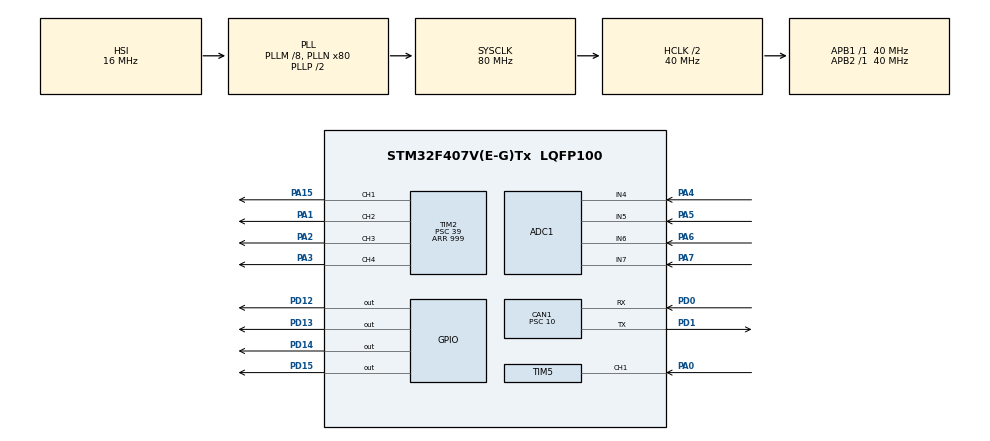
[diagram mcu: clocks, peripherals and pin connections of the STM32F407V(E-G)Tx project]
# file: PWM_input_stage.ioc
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ADC1.Channel-0\#ChannelRegularConversion=ADC_CHANNEL_4
ADC1.Channel-1\#ChannelRegularConversion=ADC_CHANNEL_5
ADC1.Channel-2\#ChannelRegularConversion=ADC_CHANNEL_6
ADC1.Channel-3\#ChannelRegularConversion=ADC_CHANNEL_7
ADC1.DMAContinuousRequests=ENABLE
ADC1.DiscontinuousConvMode=ENABLE
ADC1.EOCSelection=ADC_EOC_SEQ_CONV
ADC1.ExternalTrigConv=ADC_EXTERNALTRIGCONV_T3_TRGO
ADC1.NbrOfConversion=4
ADC1.NbrOfConversionFlag=1
ADC1.NbrOfDiscConversion=4
ADC1.Rank-0\#ChannelRegularConversion=1
ADC1.Rank-1\#ChannelRegularConversion=2
ADC1.Rank-2\#ChannelRegularConversion=3
ADC1.Rank-3\#ChannelRegularConversion=4
ADC1.SamplingTime-0\#ChannelRegularConversion=ADC_SAMPLETIME_15CYCLES
ADC1.SamplingTime-1\#ChannelRegularConversion=ADC_SAMPLETIME_15CYCLES
ADC1.SamplingTime-2\#ChannelRegularConversion=ADC_SAMPLETIME_15CYCLES
ADC1.SamplingTime-3\#ChannelRegularConversion=ADC_SAMPLETIME_15CYCLES
ADC1.ScanConvMode=ENABLE
ADC1.master=1
CAN1.ABOM=ENABLE
CAN1.BS1=CAN_BS1_10TQ
CAN1.BS2=CAN_BS2_5TQ
CAN1.CalculateBaudRate=250000
CAN1.CalculateTimeBit=4000
CAN1.CalculateTimeQuantum=250.0
CAN1.NART=ENABLE
CAN1.Prescaler=10
Dma.ADC1.0.Direction=DMA_PERIPH_TO_MEMORY
Dma.ADC1.0.FIFOMode=DMA_FIFOMODE_DISABLE
Dma.ADC1.0.Instance=DMA2_Stream0
Dma.ADC1.0.MemDataAlignment=DMA_MDATAALIGN_HALFWORD
Dma.ADC1.0.MemInc=DMA_MINC_ENABLE
Dma.ADC1.0.Mode=DMA_CIRCULAR
Dma.ADC1.0.PeriphDataAlignment=DMA_PDATAALIGN_HALFWORD
Dma.ADC1.0.PeriphInc=DMA_PINC_DISABLE
Dma.ADC1.0.Priority=DMA_PRIORITY_LOW
Dma.Request0=ADC1
Mcu.Family=STM32F4
Mcu.Name=STM32F407V(E-G)Tx
Mcu.Package=LQFP100
NVIC.CAN1_RX0_IRQn=true\:0\:0\:false\:false\:true\:true\:true\:true
NVIC.CAN1_TX_IRQn=true\:0\:0\:false\:false\:true\:true\:true\:true
NVIC.DMA2_Stream0_IRQn=true\:0\:0\:false\:false\:true\:false\:true\:true
NVIC.PriorityGroup=NVIC_PRIORITYGROUP_4
NVIC.TIM5_IRQn=true\:0\:0\:false\:false\:true\:true\:true\:true
PA0-WKUP.Signal=S_TIM5_CH1
PA1.Signal=S_TIM2_CH2
PA15.Signal=S_TIM2_CH1_ETR
PA2.Signal=S_TIM2_CH3
PA3.Signal=S_TIM2_CH4
PA4.Signal=ADCx_IN4
PA5.Signal=ADCx_IN5
PA6.Signal=ADCx_IN6
PA7.Signal=ADCx_IN7
PD0.Mode=CAN_Activate
PD0.Signal=CAN1_RX
PD1.Mode=CAN_Activate
PD1.Signal=CAN1_TX
PD12.Signal=GPIO_Output
PD13.Signal=GPIO_Output
PD14.Signal=GPIO_Output
PD15.Signal=GPIO_Output
PH0-OSC_IN.Mode=HSE-External-Oscillator
PH0-OSC_IN.Signal=RCC_OSC_IN
PH1-OSC_OUT.Mode=HSE-External-Oscillator
PH1-OSC_OUT.Signal=RCC_OSC_OUT
ProjectManager.HeapSize=0x200
ProjectManager.StackSize=0x400
ProjectManager.TargetToolchain=STM32CubeIDE
RCC.48MHZClocksFreq_Value=40000000
RCC.AHBCLKDivider=RCC_SYSCLK_DIV2
RCC.AHBFreq_Value=40000000
RCC.APB1Freq_Value=40000000
RCC.APB1TimFreq_Value=40000000
RCC.APB2Freq_Value=40000000
RCC.APB2TimFreq_Value=40000000
RCC.CortexFreq_Value=40000000
RCC.HCLKFreq_Value=40000000
RCC.HSE_VALUE=8000000
RCC.HSI_VALUE=16000000
RCC.LSE_VALUE=32768
RCC.PLLM=8
RCC.PLLN=80
RCC.SYSCLKFreq_VALUE=80000000
RCC.SYSCLKSource=RCC_SYSCLKSOURCE_PLLCLK
RCC.VCOOutputFreq_Value=160000000
SH.ADCx_IN4.0=ADC1_IN4,IN4
SH.ADCx_IN5.0=ADC1_IN5,IN5
SH.ADCx_IN6.0=ADC1_IN6,IN6
SH.ADCx_IN7.0=ADC1_IN7,IN7
SH.S_TIM2_CH1_ETR.0=TIM2_CH1,PWM Generation1 CH1
SH.S_TIM2_CH2.0=TIM2_CH2,PWM Generation2 CH2
SH.S_TIM2_CH3.0=TIM2_CH3,PWM Generation3 CH3
SH.S_TIM2_CH4.0=TIM2_CH4,PWM Generation4 CH4
SH.S_TIM5_CH1.0=TIM5_CH1,Input_Capture1_from_TI1
TIM2.Channel-PWM\ Generation1\ CH1=TIM_CHANNEL_1
TIM2.Channel-PWM\ Generation2\ CH2=TIM_CHANNEL_2
TIM2.Channel-PWM\ Generation3\ CH3=TIM_CHANNEL_3
TIM2.Channel-PWM\ Generation4\ CH4=TIM_CHANNEL_4
TIM2.Period=999
TIM2.Prescaler=39
TIM2.TIM_MasterOutputTrigger=TIM_TRGO_UPDATE
TIM3.Period=99
TIM3.Prescaler=39999
TIM3.TIM_MasterOutputTrigger=TIM_TRGO_UPDATE
TIM5.Channel-Input_Capture1_from_TI1=TIM_CHANNEL_1
TIM5.ICPolarity_CH1=TIM_INPUTCHANNELPOLARITY_BOTHEDGE
TIM5.Prescaler=39
VP_TIM2_VS_ClockSourceINT.Mode=Internal
VP_TIM3_VS_ClockSourceINT.Mode=Internal
VP_TIM5_VS_ClockSourceINT.Mode=Internal
board=custom

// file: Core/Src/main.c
/* USER CODE BEGIN Header */
/**
  ******************************************************************************
  * @file           : main.c
  * @brief          : Main program body
  ******************************************************************************
  * @attention
  *
  * Copyright (c) 2024 STMicroelectronics.
  * All rights reserved.
  *
  * This software is licensed under terms that can be found in the LICENSE file
  * in the root directory of this software component.
  * If no LICENSE file comes with this software, it is provided AS-IS.
  *
  ******************************************************************************
  */
/* USER CODE END Header */
#include "main.h"

/* USER CODE BEGIN PD */
#define GPIO_Input_Number 4U //4 pinsPD12 ,PD13 ,PD14 , PD15 (0,1,2,3)
#define IRQ_Enable (CAN_IT_TX_MAILBOX_EMPTY         \
                    | CAN_IT_RX_FIFO0_MSG_PENDING   \
                    | CAN_IT_RX_FIFO0_FULL          \
                    | CAN_IT_RX_FIFO0_OVERRUN       \
                    | CAN_IT_RX_FIFO1_MSG_PENDING   \
                    | CAN_IT_RX_FIFO1_FULL          \
                    | CAN_IT_RX_FIFO1_OVERRUN)

#define Driver_error 0xFBU
#define Bad_parameter 0xFEU
#define Module_ID_not_defined 0xFAU
#define Routine_ID_not_defined 0xFFU
#define pwm_channel_max 4U
#define duty_cycle_max 0x2710U   //duty cycle =100% equivalent to 10000(HEX 2710)  //precision=0.01%

/* USER CODE END PD */

ADC_HandleTypeDef hadc1;
DMA_HandleTypeDef hdma_adc1;

CAN_HandleTypeDef hcan1;

TIM_HandleTypeDef htim2;
TIM_HandleTypeDef htim3;
TIM_HandleTypeDef htim5;

void SystemClock_Config(void);
static void MX_GPIO_Init(void);
static void MX_DMA_Init(void);
static void MX_ADC1_Init(void);
static void MX_TIM3_Init(void);
static void MX_CAN1_Init(void);
static void MX_TIM2_Init(void);
static void MX_TIM5_Init(void);

/* USER CODE BEGIN 0 */

static CAN_TxHeaderTypeDef TxHeader;
CAN_RxHeaderTypeDef RxHeader;
uint8_t Rx_Data[8];
uint8_t Tx_Data[8] = {0};
uint32_t TxMailbox;
GPIO_TypeDef* GPIOx;
uint16_t led_matrix[GPIO_Input_Number] ={GPIO_PIN_12,  GPIO_PIN_13,  GPIO_PIN_14,  GPIO_PIN_15};
typedef enum
{
	LED_RESET,   //reset=0
    LED_SET      //set=1

} LED_Action;

static uint32_t IC_Val1 = 0, IC_Val2 = 0, IC_Val3 = 0;
static uint8_t CaptureCount = 0;
uint8_t edgeType = 0;

typedef struct {
    uint16_t dutyCycle;
    uint16_t frequency;
} PWM_Measurement;

PWM_Measurement pwm = {0, 0};  // Initialize with default values
uint32_t HighTime = 0, Period = 0,LowTime=0;

uint8_t Control_LED(uint8_t led_num, uint8_t action)
{
	uint8_t ReturnStatus = 0U;   //default value //no error

	if ( (action > LED_SET )||(led_num >= GPIO_Input_Number ))   //LED_SET =1  //GPIO_Input_Number 0..3
	{
		ReturnStatus = Bad_parameter ;   //Error Message
	}
	else   //ReturnStatus = 0U;
	{
        HAL_GPIO_WritePin(GPIOD, (uint16_t)led_matrix[led_num], (GPIO_PinState)action); // configure  pin number and action :set or reset
	}
	return ReturnStatus;      //last value of ReturnStatus
}

GPIO_PinState Read_LED(uint8_t led_num)
{
    GPIO_PinState bitstatus = GPIO_PIN_RESET;  // Default state is OFF
    // Check if the led_num is within valid range
    if (led_num < GPIO_Input_Number)
    {
        // Read the state of the specified LED
    	bitstatus = HAL_GPIO_ReadPin(GPIOD, led_matrix[led_num]);
    }
    else
    {
    	bitstatus = Bad_parameter ;
    }
    return bitstatus;
}

void Send_CAN_Message(uint8_t *data, uint32_t length)  //variable data length
{
    TxHeader.DLC = length;
    if (HAL_CAN_AddTxMessage(&hcan1, &TxHeader, data, &TxMailbox) != HAL_OK)
    {
        Error_Handler();          // Handle transmission error
    }
}

uint8_t Set_PWM_output(uint32_t channel, uint16_t duty_cycle, uint16_t frequency)
{
    TIM_OC_InitTypeDef sConfigOC = {0};
    uint8_t ReturnStatus = 0U;

    if ((channel > pwm_channel_max ) || (duty_cycle >duty_cycle_max ) || (frequency == 0U))
    {
        return Bad_parameter ;
    }
    else
    {
        uint32_t PCLK1 = HAL_RCC_GetPCLK1Freq();
        htim2.Init.Prescaler = (PCLK1 / (1000U * 1000U)) - 1U;  //PCLK1 clock in MHZ  //prescaler=39
        htim2.Init.Period = (1000000/frequency) - 1U;     //ARR=999
        if (HAL_TIM_PWM_Init(&htim2) != HAL_OK)
        {
            return Driver_error;
        }
        sConfigOC.OCMode = TIM_OCMODE_PWM1;
        sConfigOC.Pulse = ((duty_cycle*htim2.Init.Period)/100)/100; //duty cycle in %
        sConfigOC.OCPolarity = TIM_OCPOLARITY_HIGH;
        sConfigOC.OCFastMode = TIM_OCFAST_DISABLE;
          uint32_t tim_channel;
          switch (channel)
           {
               case 1: tim_channel = TIM_CHANNEL_1; break;
               case 2: tim_channel = TIM_CHANNEL_2; break;
               case 3: tim_channel = TIM_CHANNEL_3; break;
               case 4: tim_channel = TIM_CHANNEL_4; break;
               default: return Bad_parameter; // Channel invalid
           }
           if (HAL_TIM_PWM_ConfigChannel(&htim2, &sConfigOC, tim_channel) != HAL_OK)
           {
               return Driver_error;
           }

           if (HAL_TIM_PWM_Start(&htim2, tim_channel) != HAL_OK)
           {
               return Driver_error;
           }
           return ReturnStatus; // success
    }
}

//check set_PWM_output values
uint8_t Get_PWM_output(uint32_t channel, uint16_t *duty_cycle, uint16_t *frequency)  //use pointer to return 2 values : duty cycle and frequency
{
    if ((channel >  pwm_channel_max) || (duty_cycle == NULL) || (frequency == NULL))
    {
        return Bad_parameter;
    }
    uint32_t PCLK1 = HAL_RCC_GetPCLK1Freq();
    uint32_t prescaler = htim2.Init.Prescaler + 1U;
    uint32_t period = htim2.Init.Period + 1U;
    uint32_t compare_value = 0U;                    // Compare register default  value CCR
    switch (channel)
    {
        case 1: compare_value = htim2.Instance->CCR1; break;
        case 2: compare_value = htim2.Instance->CCR2; break;
        case 3: compare_value = htim2.Instance->CCR3; break;
        case 4: compare_value = htim2.Instance->CCR4; break;
        default: return Bad_parameter;       // Invalid channel
    }
    if (period != 0)   //check the PWM frequency
    {
        *frequency = (PCLK1 / prescaler) / period;
        *duty_cycle = ((compare_value * 100U) / period)*100;
    }
    else
    {
        *frequency = 0U;
        *duty_cycle = 0U;
    }
    return 0U; // Success
}

PWM_Measurement Handle_TIM_IC_Capture(uint32_t channel)
{
    static uint8_t edgeType = 0;  // Type de front (0: indéfini, 1: montant, 2: descendant)
    static uint32_t previousIC_Val1 = 0;  // Valeur précédente pour détecter les erreurs
    static uint8_t lastState = 0;  // Stocke le dernier état du front (0: descendant, 1: montant)
    uint8_t currentState = 0;  // Stocke l'état actuel du front

    if (channel == TIM_CHANNEL_1)
    {
        switch (CaptureCount)
        {
            case 0: // Première capture (front montant ou descendant)
                IC_Val1 = HAL_TIM_ReadCapturedValue(&htim5, TIM_CHANNEL_1);

                // Si IC_Val1 est identique à la valeur précédente, il peut s'agir d'une erreur
                if (IC_Val1 == previousIC_Val1)
                {
                    // Ignore cette capture, attends le prochain front
                    break;
                }

                // Détermine le type de front actuel
                GPIO_PinState pinState = HAL_GPIO_ReadPin(GPIOA, GPIO_PIN_0);
                currentState = (pinState == GPIO_PIN_SET) ? 1 : 0;  // 1: front montant, 0: front descendant

                // S'assure que le premier front est montant
                if (currentState == 1)
                {
                    edgeType = 1;  // Premier front est montant, continuer normalement
                    previousIC_Val1 = IC_Val1;  // Met à jour la valeur précédente
                    CaptureCount = 1;
                    lastState = currentState;  // Stocke le dernier état
                }
                else
                {
                    // Si le premier front n'est pas montant, attends le bon front
                    break;
                }
                break;

            case 1: // Deuxième capture (front descendant)
                IC_Val2 = HAL_TIM_ReadCapturedValue(&htim5, TIM_CHANNEL_1);

                // Met à jour l'état actuel en fonction du front détecté
                pinState = HAL_GPIO_ReadPin(GPIOA, GPIO_PIN_0);
                currentState = (pinState == GPIO_PIN_SET) ? 1 : 0;  // 1: front montant, 0: front descendant

                // Ne continue que si la transition de front est correcte (descendant après montant)
                if (lastState == 1 && currentState == 0)
                {
                    edgeType = 2;  // Front descendant valide après montant
                    CaptureCount = 2;
                }
                else
                {
                    // Ignore les transitions incorrectes
                    break;
                }
                break;

            case 2: // Troisième capture (front montant à nouveau)
                IC_Val3 = HAL_TIM_ReadCapturedValue(&htim5, TIM_CHANNEL_1);

                // Vérifie si le edgeType correspond à la séquence correcte de transitions
              while(edgeType == 2) // Si le premier front était montant
                {
                	;
                }

                    // Calcul du HighTime (temps haut)
                    if (IC_Val2 >= IC_Val1)
                    {
                        HighTime = IC_Val2 - IC_Val1;
                    }
                    else // Gérer le débordement
                    {
                        HighTime = (0xFFFF - IC_Val1 + IC_Val2 + 1);
                    }

                    // Calcul de la période (Period)
                    if (IC_Val3 >= IC_Val1)
                    {
                        Period = IC_Val3 - IC_Val1;
                    }
                    else // Gérer le débordement
                    {
                        Period = (0xFFFF - IC_Val1 + IC_Val3 + 1);
                    }

                    // Calcul de la fréquence et du duty cycle
                    uint32_t timerClock = HAL_RCC_GetPCLK1Freq() / (htim5.Init.Prescaler + 1);
                    if (Period != 0)
                    {
                        pwm.frequency = (uint16_t)(timerClock / Period);
                        pwm.dutyCycle = (uint16_t)(((float)HighTime / (float)Period) * 100.0f);

                        if (pwm.dutyCycle > 100)
                        {
                            pwm.dutyCycle = 100;
                        }
                    }
                    else
                    {
                        pwm.frequency = Bad_parameter;
                        pwm.dutyCycle = Bad_parameter;
                    }

                // Prépare pour le prochain cycle
                IC_Val1 = IC_Val3;  // Commence le prochain cycle avec IC_Val3
                CaptureCount = 1;   // Réinitialise CaptureCount pour continuer depuis le deuxième front
                lastState = currentState;  // Met à jour le dernier état pour la prochaine capture
                break;
        }
    }
    else
    {
        // Gère le cas où le canal n'est pas TIM_CHANNEL_1
        pwm.frequency = Bad_parameter;
        pwm.dutyCycle = Bad_parameter;
    }

    return pwm;
}

/*PWM_Measurement Handle_TIM_IC_Capture(uint32_t channel)
{
    static uint8_t edgeType = 0;  // Edge type (0: undefined, 1: rising, 2: falling)
    static uint32_t previousIC_Val1 = 0;  // Store previous value to detect errors
    static uint8_t lastState = 0;  // Store the last edge state (0: falling, 1: rising)
    uint8_t currentState = 0;  // Store the current edge state

    if (channel == TIM_CHANNEL_1)
    {
        switch (CaptureCount)
        {
            case 0: // First capture (rising or falling edge)
                IC_Val1 = HAL_TIM_ReadCapturedValue(&htim5, TIM_CHANNEL_1);

                // If IC_Val1 is identical to the previous value, it might be an error
                if (IC_Val1 == previousIC_Val1)
                {
                    // Ignore this capture, wait for the next edge
                    break;
                }

                // Determine the current edge type
                GPIO_PinState pinState = HAL_GPIO_ReadPin(GPIOA, GPIO_PIN_0);
                if (pinState == GPIO_PIN_SET)
                {
                    currentState = 1;  // Rising edge
                }
                else if (pinState == GPIO_PIN_RESET)
                {
                    currentState = 0;  // Falling edge
                }

                // Ensure the first edge is rising
                if (currentState == 1)
                {
                    edgeType = 1;  // First edge is rising, proceed with normal flow
                    previousIC_Val1 = IC_Val1;  // Update previous value
                    CaptureCount = 1;
                    lastState = currentState;  // Store the last state
                }
                else
                {
                    // If the first edge is not rising, wait for the correct edge
                    break;
                }
                break;

            case 1: // Second capture (falling edge)
                IC_Val2 = HAL_TIM_ReadCapturedValue(&htim5, TIM_CHANNEL_1);

                // Update current state based on the edge detected
                pinState = HAL_GPIO_ReadPin(GPIOA, GPIO_PIN_0);
                currentState = (pinState == GPIO_PIN_SET) ? 1 : 0;

                // Only proceed if the edge transition is correct (falling after rising)
                if (lastState == 1 && currentState == 0)
                {
                    edgeType = 2;  // Valid falling edge after rising
                    CaptureCount = 2;
                }
                else
                {
                    // Ignore incorrect transitions
                    break;
                }
                break;

            case 2: // Third capture (rising edge again)
                IC_Val3 = HAL_TIM_ReadCapturedValue(&htim5, TIM_CHANNEL_1);

                if (edgeType == 1) // If the first edge was rising
                {
                    // Calculate high time (HighTime)
                    if (IC_Val2 >= IC_Val1)
                    {
                        HighTime = IC_Val2 - IC_Val1;
                    }
                    else // Handle overflow
                    {
                        HighTime = (0xFFFF - IC_Val1 + IC_Val2 + 1);
                    }

                    // Calculate period (Period)
                    if (IC_Val3 >= IC_Val1)
                    {
                        Period = IC_Val3 - IC_Val1;
                    }
                    else // Handle overflow
                    {
                        Period = (0xFFFF - IC_Val1 + IC_Val3 + 1);
                    }

                    // Calculate frequency and duty cycle
                    uint32_t timerClock = HAL_RCC_GetPCLK1Freq() / (htim5.Init.Prescaler + 1);
                    if (Period != 0)
                    {
                        pwm.frequency = (uint16_t)(timerClock / Period);
                        pwm.dutyCycle = (uint16_t)(((float)HighTime / (float)Period) * 100.0f);

                        if (pwm.dutyCycle > 100)
                        {
                            pwm.dutyCycle = 100;
                        }
                    }
                    else
                    {
                        pwm.frequency = Bad_parameter;
                        pwm.dutyCycle = Bad_parameter;
                    }
                }

                // Prepare for the next cycle
                IC_Val1 = IC_Val3;  // Start the next cycle with IC_Val3
                CaptureCount = 1;   // Reset CaptureCount to continue from the second edge
                lastState = currentState;  // Update last state for the next capture
                break;
        }
    }
    else
    {
        // Handle the case where the channel is not TIM_CHANNEL_1
        pwm.frequency = Bad_parameter;
        pwm.dutyCycle = Bad_parameter;
    }

    return pwm;
}
*/

/*PWM_Measurement Handle_TIM_IC_Capture(uint32_t channel)
{
    static uint8_t edgeType = 0;  // Edge type (0: undefined, 1: rising, 2: falling)
    static uint32_t previousIC_Val1 = 0;  // Store previous value to detect errors

    if (channel == TIM_CHANNEL_1)
    {
        switch (CaptureCount)
        {
            case 0: // First capture (rising or falling edge)
                IC_Val1 = HAL_TIM_ReadCapturedValue(&htim5, TIM_CHANNEL_1);

                // If IC_Val1 is identical to the previous value, it might be an error
                if (IC_Val1 == previousIC_Val1)
                {
                    // Ignore this capture, wait for the next edge
                    break;
                }

                // Determine edge type
                GPIO_PinState pinState = HAL_GPIO_ReadPin(GPIOA, GPIO_PIN_0);
                if (pinState == GPIO_PIN_SET)
                {
                    edgeType = 1;  // Rising edge
                    HAL_GPIO_WritePin(GPIOD, GPIO_PIN_12, GPIO_PIN_SET);
                    //HAL_GPIO_WritePin(GPIOD, GPIO_PIN_13, GPIO_PIN_RESET);  // LED for Falling edge
                }
                else if (pinState == GPIO_PIN_RESET)
                {
                    edgeType = 2;  // Falling edge
                    HAL_GPIO_WritePin(GPIOD, GPIO_PIN_13, GPIO_PIN_SET);
                    //HAL_GPIO_WritePin(GPIOD, GPIO_PIN_13, GPIO_PIN_RESET);  // LED for Falling edge
                }

                previousIC_Val1 = IC_Val1;  // Update previous value
                CaptureCount = 1;
                break;

            case 1: // Second capture (opposite edge)
                IC_Val2 = HAL_TIM_ReadCapturedValue(&htim5, TIM_CHANNEL_1);
                CaptureCount = 2;
                break;

            case 2: // Third capture (same as first edge)
                IC_Val3 = HAL_TIM_ReadCapturedValue(&htim5, TIM_CHANNEL_1);

                if (edgeType == 1) // If the first edge was rising
                {
                    // Calculate high time (HighTime)
                    if (IC_Val2 >= IC_Val1)
                    {
                        HighTime = IC_Val2 - IC_Val1;
                    }
                    else // Handle overflow
                    {
                        HighTime = (0xFFFF - IC_Val1 + IC_Val2 + 1);
                    }

                    // Calculate period (Period)
                    if (IC_Val3 >= IC_Val1)
                    {
                        Period = IC_Val3 - IC_Val1;
                    }
                    else // Handle overflow
                    {
                        Period = (0xFFFF - IC_Val1 + IC_Val3 + 1);
                    }

                    // Calculate frequency and duty cycle
                    uint32_t timerClock = HAL_RCC_GetPCLK1Freq() / (htim5.Init.Prescaler + 1);
                    if (Period != 0)
                    {
                        pwm.frequency = (uint16_t)(timerClock / Period);
                        pwm.dutyCycle = (uint16_t)(((float)HighTime / (float)Period) * 100.0f);

                        if (pwm.dutyCycle > 100)
                        {
                            pwm.dutyCycle = 100;
                        }
                    }
                    else
                    {
                        pwm.frequency = Bad_parameter;
                        pwm.dutyCycle = Bad_parameter;
                    }
                }
                else if (edgeType == 2) // If the first edge was falling
                {
                    // Calculate low time (LowTime)
                    if (IC_Val2 >= IC_Val1)
                    {
                        LowTime = IC_Val2 - IC_Val1;
                    }
                    else // Handle overflow
                    {
                        LowTime = (0xFFFF - IC_Val1 + IC_Val2 + 1);
                    }

                    // Calculate period (Period)
                    if (IC_Val3 >= IC_Val1)
                    {
                        Period = IC_Val3 - IC_Val1;
                    }
                    else // Handle overflow
                    {
                        Period = (0xFFFF - IC_Val1 + IC_Val3 + 1);
                    }

                    // Calculate frequency and duty cycle
                    uint32_t timerClock = HAL_RCC_GetPCLK1Freq() / (htim5.Init.Prescaler + 1);
                    if (Period != 0)
                    {
                        pwm.frequency = (uint16_t)(timerClock / Period);
                        pwm.dutyCycle = 100 - (uint16_t)(((float)LowTime / (float)Period) * 100.0f);

                        if (pwm.dutyCycle > 100)
                        {
                            pwm.dutyCycle = 100;
                        }
                    }
                    else
                    {
                        pwm.frequency = Bad_parameter;
                        pwm.dutyCycle = Bad_parameter;
                    }
                }

                // Prepare for the next cycle
                IC_Val1 = IC_Val3;  // Start the next cycle with IC_Val3
                CaptureCount = 1;   // Reset CaptureCount to continue from the second edge
                break;
        }
    }
    else
    {
        // Handle the case where the channel is not TIM_CHANNEL_1
        pwm.frequency = Bad_parameter;
        pwm.dutyCycle = Bad_parameter;
    }

    return pwm;
}
*/

void CAN_ConfigFilter(uint32_t filterBank, uint32_t id, uint32_t idType)
{
    CAN_FilterTypeDef canFilterConfig;  // Declare a filter configuration structure
    canFilterConfig.FilterBank = filterBank;   // Set the filter bank number to configure
    canFilterConfig.FilterMode = CAN_FILTERMODE_IDMASK;  // Set the filter mode to ID mask
    canFilterConfig.FilterScale = CAN_FILTERSCALE_32BIT;// Set the filter scale to 32 bits (for extended IDs)
    canFilterConfig.FilterFIFOAssignment = CAN_FILTER_FIFO0;  // Assign the filter to FIFO0 (First In First Out)
    canFilterConfig.FilterActivation = ENABLE;   // Activate the filter
    if (idType == CAN_ID_STD)
    {
        // Configure the standard ID filter
        canFilterConfig.FilterIdHigh = id << 5; // Shift the ID left by 5 bits for the high part
        canFilterConfig.FilterIdLow = 0x0000;   // Low part is not used for standard IDs
        // Set the mask for standard IDs (allow any ID matching the higher bits)
        canFilterConfig.FilterMaskIdHigh = 0xFFFF << 5; // Mask high part
        canFilterConfig.FilterMaskIdLow = 0x0000;       // Mask low part
    }
    else if (idType == CAN_ID_EXT)
    {
        // Configure the extended ID filter
        canFilterConfig.FilterIdHigh = (id >> 13) & 0xFFFF; // Get the high part of the extended ID
        canFilterConfig.FilterIdLow = (id << 3) & 0xFFFF;   // Get the low part of the extended ID
        // Set the mask for extended IDs
        canFilterConfig.FilterMaskIdHigh = (0x1FFFFFFF >> 13) & 0xFFFF; // Max mask high part
        canFilterConfig.FilterMaskIdLow = (0x1FFFFFFF << 3) & 0xFFFF;   // Max mask low part
    }
    if (HAL_CAN_ConfigFilter(&hcan1, &canFilterConfig) != HAL_OK)  // Configure the CAN filter with the defined settings
    {
        Error_Handler();
    }
}

/* USER CODE END 0 */

int main(void)
{

  /* MCU Configuration--------------------------------------------------------*/

  /* Reset of all peripherals, Initializes the Flash interface and the Systick. */
  HAL_Init();

  /* Configure the system clock */
  SystemClock_Config();

  /* Initialize all configured peripherals */
  MX_GPIO_Init();
  MX_DMA_Init();
  MX_ADC1_Init();
  MX_TIM3_Init();
  MX_CAN1_Init();
  MX_TIM2_Init();
  MX_TIM5_Init();
  /* USER CODE BEGIN 2 */

  HAL_TIM_IC_Start_IT(&htim5, TIM_CHANNEL_1);
  //simplify the timer configuration and interrupt handling code by using a single channel to capture both edges of the signal

  if (HAL_CAN_ActivateNotification(&hcan1,IRQ_Enable) != HAL_OK)  //activate the notification after successful transmission
  {
      Error_Handler();
  }
  HAL_TIM_Base_Start(&htim2);
  HAL_CAN_Start(&hcan1);

  // Configuration of header of message CAN
  TxHeader.DLC=0x8U; // Length data (8 bytes )
  TxHeader.IDE=CAN_ID_STD; // standard Identifier
  TxHeader.RTR=CAN_RTR_DATA; // Data frame
  TxHeader.StdId=0x400U;// standard Identifier
  TxHeader.TransmitGlobalTime=DISABLE;   //not include a global timestamp
  CAN_ConfigFilter(0, 0x466, CAN_ID_STD);   //accepted ID  =0x466

  /* USER CODE END 2 */

  /* Infinite loop */
  while (1)
  {

    /* USER CODE BEGIN 3 */

  }
  HAL_StatusTypeDef status;
  status = HAL_CAN_AddTxMessage(&hcan1, &TxHeader, Tx_Data, &TxMailbox);
  if (status != HAL_OK)
  {
      Error_Handler();
  }

  /* USER CODE END 3 */
}

void SystemClock_Config(void)
{
  RCC_OscInitTypeDef RCC_OscInitStruct = {0};
  RCC_ClkInitTypeDef RCC_ClkInitStruct = {0};

  /** Configure the main internal regulator output voltage
  */
  __HAL_RCC_PWR_CLK_ENABLE();
  __HAL_PWR_VOLTAGESCALING_CONFIG(PWR_REGULATOR_VOLTAGE_SCALE1);

  /** Initializes the RCC Oscillators according to the specified parameters
  * in the RCC_OscInitTypeDef structure.
  */
  RCC_OscInitStruct.OscillatorType = RCC_OSCILLATORTYPE_HSI;
  RCC_OscInitStruct.HSIState = RCC_HSI_ON;
  RCC_OscInitStruct.HSICalibrationValue = RCC_HSICALIBRATION_DEFAULT;
  RCC_OscInitStruct.PLL.PLLState = RCC_PLL_ON;
  RCC_OscInitStruct.PLL.PLLSource = RCC_PLLSOURCE_HSI;
  RCC_OscInitStruct.PLL.PLLM = 8;
  RCC_OscInitStruct.PLL.PLLN = 80;
  RCC_OscInitStruct.PLL.PLLP = RCC_PLLP_DIV2;
  RCC_OscInitStruct.PLL.PLLQ = 4;
  if (HAL_RCC_OscConfig(&RCC_OscInitStruct) != HAL_OK)
  {
    Error_Handler();
  }

  /** Initializes the CPU, AHB and APB buses clocks
  */
  RCC_ClkInitStruct.ClockType = RCC_CLOCKTYPE_HCLK|RCC_CLOCKTYPE_SYSCLK
                              |RCC_CLOCKTYPE_PCLK1|RCC_CLOCKTYPE_PCLK2;
  RCC_ClkInitStruct.SYSCLKSource = RCC_SYSCLKSOURCE_PLLCLK;
  RCC_ClkInitStruct.AHBCLKDivider = RCC_SYSCLK_DIV2;
  RCC_ClkInitStruct.APB1CLKDivider = RCC_HCLK_DIV1;
  RCC_ClkInitStruct.APB2CLKDivider = RCC_HCLK_DIV1;

  if (HAL_RCC_ClockConfig(&RCC_ClkInitStruct, FLASH_LATENCY_1) != HAL_OK)
  {
    Error_Handler();
  }
}

static void MX_ADC1_Init(void)
{

  ADC_ChannelConfTypeDef sConfig = {0};

  /** Configure the global features of the ADC (Clock, Resolution, Data Alignment and number of conversion)
  */
  hadc1.Instance = ADC1;
  hadc1.Init.ClockPrescaler = ADC_CLOCK_SYNC_PCLK_DIV2;
  hadc1.Init.Resolution = ADC_RESOLUTION_12B;
  hadc1.Init.ScanConvMode = ENABLE;
  hadc1.Init.ContinuousConvMode = DISABLE;
  hadc1.Init.DiscontinuousConvMode = ENABLE;
  hadc1.Init.NbrOfDiscConversion = 4;
  hadc1.Init.ExternalTrigConvEdge = ADC_EXTERNALTRIGCONVEDGE_RISING;
  hadc1.Init.ExternalTrigConv = ADC_EXTERNALTRIGCONV_T3_TRGO;
  hadc1.Init.DataAlign = ADC_DATAALIGN_RIGHT;
  hadc1.Init.NbrOfConversion = 4;
  hadc1.Init.DMAContinuousRequests = ENABLE;
  hadc1.Init.EOCSelection = ADC_EOC_SEQ_CONV;
  if (HAL_ADC_Init(&hadc1) != HAL_OK)
  {
    Error_Handler();
  }

  /** Configure for the selected ADC regular channel its corresponding rank in the sequencer and its sample time.
  */
  sConfig.Channel = ADC_CHANNEL_4;
  sConfig.Rank = 1;
  sConfig.SamplingTime = ADC_SAMPLETIME_15CYCLES;
  if (HAL_ADC_ConfigChannel(&hadc1, &sConfig) != HAL_OK)
  {
    Error_Handler();
  }

  /** Configure for the selected ADC regular channel its corresponding rank in the sequencer and its sample time.
  */
  sConfig.Channel = ADC_CHANNEL_5;
  sConfig.Rank = 2;
  if (HAL_ADC_ConfigChannel(&hadc1, &sConfig) != HAL_OK)
  {
    Error_Handler();
  }

  /** Configure for the selected ADC regular channel its corresponding rank in the sequencer and its sample time.
  */
  sConfig.Channel = ADC_CHANNEL_6;
  sConfig.Rank = 3;
  if (HAL_ADC_ConfigChannel(&hadc1, &sConfig) != HAL_OK)
  {
    Error_Handler();
  }

  /** Configure for the selected ADC regular channel its corresponding rank in the sequencer and its sample time.
  */
  sConfig.Channel = ADC_CHANNEL_7;
  sConfig.Rank = 4;
  if (HAL_ADC_ConfigChannel(&hadc1, &sConfig) != HAL_OK)
  {
    Error_Handler();
  }

}

static void MX_CAN1_Init(void)
{

  hcan1.Instance = CAN1;
  hcan1.Init.Prescaler = 10;
  hcan1.Init.Mode = CAN_MODE_NORMAL;
  hcan1.Init.SyncJumpWidth = CAN_SJW_1TQ;
  hcan1.Init.TimeSeg1 = CAN_BS1_10TQ;
  hcan1.Init.TimeSeg2 = CAN_BS2_5TQ;
  hcan1.Init.TimeTriggeredMode = DISABLE;
  hcan1.Init.AutoBusOff = ENABLE;
  hcan1.Init.AutoWakeUp = DISABLE;
  hcan1.Init.AutoRetransmission = ENABLE;
  hcan1.Init.ReceiveFifoLocked = DISABLE;
  hcan1.Init.TransmitFifoPriority = DISABLE;
  if (HAL_CAN_Init(&hcan1) != HAL_OK)
  {
    Error_Handler();
  }

}

static void MX_TIM2_Init(void)
{

  TIM_ClockConfigTypeDef sClockSourceConfig = {0};
  TIM_MasterConfigTypeDef sMasterConfig = {0};
  TIM_OC_InitTypeDef sConfigOC = {0};

  htim2.Instance = TIM2;
  htim2.Init.Prescaler = 39;
  htim2.Init.CounterMode = TIM_COUNTERMODE_UP;
  htim2.Init.Period = 999;
  htim2.Init.ClockDivision = TIM_CLOCKDIVISION_DIV1;
  htim2.Init.AutoReloadPreload = TIM_AUTORELOAD_PRELOAD_DISABLE;
  if (HAL_TIM_Base_Init(&htim2) != HAL_OK)
  {
    Error_Handler();
  }
  sClockSourceConfig.ClockSource = TIM_CLOCKSOURCE_INTERNAL;
  if (HAL_TIM_ConfigClockSource(&htim2, &sClockSourceConfig) != HAL_OK)
  {
    Error_Handler();
  }
  if (HAL_TIM_PWM_Init(&htim2) != HAL_OK)
  {
    Error_Handler();
  }
  sMasterConfig.MasterOutputTrigger = TIM_TRGO_UPDATE;
  sMasterConfig.MasterSlaveMode = TIM_MASTERSLAVEMODE_DISABLE;
  if (HAL_TIMEx_MasterConfigSynchronization(&htim2, &sMasterConfig) != HAL_OK)
  {
    Error_Handler();
  }
  sConfigOC.OCMode = TIM_OCMODE_PWM1;
  sConfigOC.Pulse = 0;
  sConfigOC.OCPolarity = TIM_OCPOLARITY_HIGH;
  sConfigOC.OCFastMode = TIM_OCFAST_DISABLE;
  if (HAL_TIM_PWM_ConfigChannel(&htim2, &sConfigOC, TIM_CHANNEL_1) != HAL_OK)
  {
    Error_Handler();
  }
  if (HAL_TIM_PWM_ConfigChannel(&htim2, &sConfigOC, TIM_CHANNEL_2) != HAL_OK)
  {
    Error_Handler();
  }
  if (HAL_TIM_PWM_ConfigChannel(&htim2, &sConfigOC, TIM_CHANNEL_3) != HAL_OK)
  {
    Error_Handler();
  }
  if (HAL_TIM_PWM_ConfigChannel(&htim2, &sConfigOC, TIM_CHANNEL_4) != HAL_OK)
  {
    Error_Handler();
  }
  HAL_TIM_MspPostInit(&htim2);

}

static void MX_TIM3_Init(void)
{

  TIM_ClockConfigTypeDef sClockSourceConfig = {0};
  TIM_MasterConfigTypeDef sMasterConfig = {0};

  htim3.Instance = TIM3;
  htim3.Init.Prescaler = 39999;
  htim3.Init.CounterMode = TIM_COUNTERMODE_UP;
  htim3.Init.Period = 99;
  htim3.Init.ClockDivision = TIM_CLOCKDIVISION_DIV1;
  htim3.Init.AutoReloadPreload = TIM_AUTORELOAD_PRELOAD_DISABLE;
  if (HAL_TIM_Base_Init(&htim3) != HAL_OK)
  {
    Error_Handler();
  }
  sClockSourceConfig.ClockSource = TIM_CLOCKSOURCE_INTERNAL;
  if (HAL_TIM_ConfigClockSource(&htim3, &sClockSourceConfig) != HAL_OK)
  {
    Error_Handler();
  }
  sMasterConfig.MasterOutputTrigger = TIM_TRGO_UPDATE;
  sMasterConfig.MasterSlaveMode = TIM_MASTERSLAVEMODE_DISABLE;
  if (HAL_TIMEx_MasterConfigSynchronization(&htim3, &sMasterConfig) != HAL_OK)
  {
    Error_Handler();
  }

}

static void MX_TIM5_Init(void)
{

  TIM_ClockConfigTypeDef sClockSourceConfig = {0};
  TIM_MasterConfigTypeDef sMasterConfig = {0};
  TIM_IC_InitTypeDef sConfigIC = {0};

  htim5.Instance = TIM5;
  htim5.Init.Prescaler = 39;
  htim5.Init.CounterMode = TIM_COUNTERMODE_UP;
  htim5.Init.Period = 4294967295;
  htim5.Init.ClockDivision = TIM_CLOCKDIVISION_DIV1;
  htim5.Init.AutoReloadPreload = TIM_AUTORELOAD_PRELOAD_DISABLE;
  if (HAL_TIM_Base_Init(&htim5) != HAL_OK)
  {
    Error_Handler();
  }
  sClockSourceConfig.ClockSource = TIM_CLOCKSOURCE_INTERNAL;
  if (HAL_TIM_ConfigClockSource(&htim5, &sClockSourceConfig) != HAL_OK)
  {
    Error_Handler();
  }
  if (HAL_TIM_IC_Init(&htim5) != HAL_OK)
  {
    Error_Handler();
  }
  sMasterConfig.MasterOutputTrigger = TIM_TRGO_RESET;
  sMasterConfig.MasterSlaveMode = TIM_MASTERSLAVEMODE_DISABLE;
  if (HAL_TIMEx_MasterConfigSynchronization(&htim5, &sMasterConfig) != HAL_OK)
  {
    Error_Handler();
  }
  sConfigIC.ICPolarity = TIM_INPUTCHANNELPOLARITY_BOTHEDGE;
  sConfigIC.ICSelection = TIM_ICSELECTION_DIRECTTI;
  sConfigIC.ICPrescaler = TIM_ICPSC_DIV1;
  sConfigIC.ICFilter = 0;
  if (HAL_TIM_IC_ConfigChannel(&htim5, &sConfigIC, TIM_CHANNEL_1) != HAL_OK)
  {
    Error_Handler();
  }

}

static void MX_DMA_Init(void)
{

  /* DMA controller clock enable */
  __HAL_RCC_DMA2_CLK_ENABLE();

  /* DMA interrupt init */
  /* DMA2_Stream0_IRQn interrupt configuration */
  HAL_NVIC_SetPriority(DMA2_Stream0_IRQn, 0, 0);
  HAL_NVIC_EnableIRQ(DMA2_Stream0_IRQn);

}

static void MX_GPIO_Init(void)
{
  GPIO_InitTypeDef GPIO_InitStruct = {0};

  /* GPIO Ports Clock Enable */
  __HAL_RCC_GPIOH_CLK_ENABLE();
  __HAL_RCC_GPIOA_CLK_ENABLE();
  __HAL_RCC_GPIOD_CLK_ENABLE();

  /*Configure GPIO pin Output Level */
  HAL_GPIO_WritePin(GPIOD, GPIO_PIN_12|GPIO_PIN_13|GPIO_PIN_14|GPIO_PIN_15, GPIO_PIN_RESET);

  /*Configure GPIO pins : PD12 PD13 PD14 PD15 */
  GPIO_InitStruct.Pin = GPIO_PIN_12|GPIO_PIN_13|GPIO_PIN_14|GPIO_PIN_15;
  GPIO_InitStruct.Mode = GPIO_MODE_OUTPUT_PP;
  GPIO_InitStruct.Pull = GPIO_NOPULL;
  GPIO_InitStruct.Speed = GPIO_SPEED_FREQ_LOW;
  HAL_GPIO_Init(GPIOD, &GPIO_InitStruct);

}

void Error_Handler(void)
{
  __disable_irq();
  while (1)
  {
  }
}
